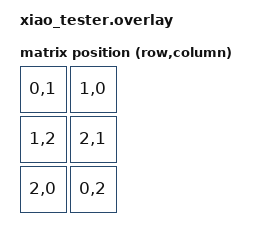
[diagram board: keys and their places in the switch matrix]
#include <dt-bindings/zmk/matrix_transform.h>
#include "xiao_tester.dtsi"

/ {
    chosen {
        zmk,kscan = &kscan0;
        zmk,matrix-transform = &default_transform;
    };
    kscan0: kscan {
        compatible = "zmk,kscan-gpio-charlieplex";

        gpios
            = <&xiao_d 1 GPIO_ACTIVE_HIGH> // blue
            , <&xiao_d 2 GPIO_ACTIVE_HIGH> // green
            , <&xiao_d 3 GPIO_ACTIVE_HIGH> // yellow
            ;
    };

    default_transform: keymap_transform0 {
        compatible = "zmk,matrix-transform";
        columns = <3>;
        rows = <3>;
        map = <
        //  [1]     [2]
            RC(0,1) RC(1,0)
        //  [3]     [4]
            RC(1,2) RC(2,1)
        //  [5]     [6]
            RC(2,0) RC(0,2)
        >;
    };
};

    //    ┌──────────────────┐
    //    │  ┌────────────┐  │
    //    │  │ Seeed XIAO │  │
    //    │  │  nRF52840  │  │
    //    │  └────────────┘  │
    //    │                  │
    //    │                  │
    //    │   [1]      [2]   │
    //    │                  │
    //    │   [3]      [4]   │
    //    │                  │
    //    │   [5]      [6]   │
    //    │                  │
    //    └──────────────────┘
